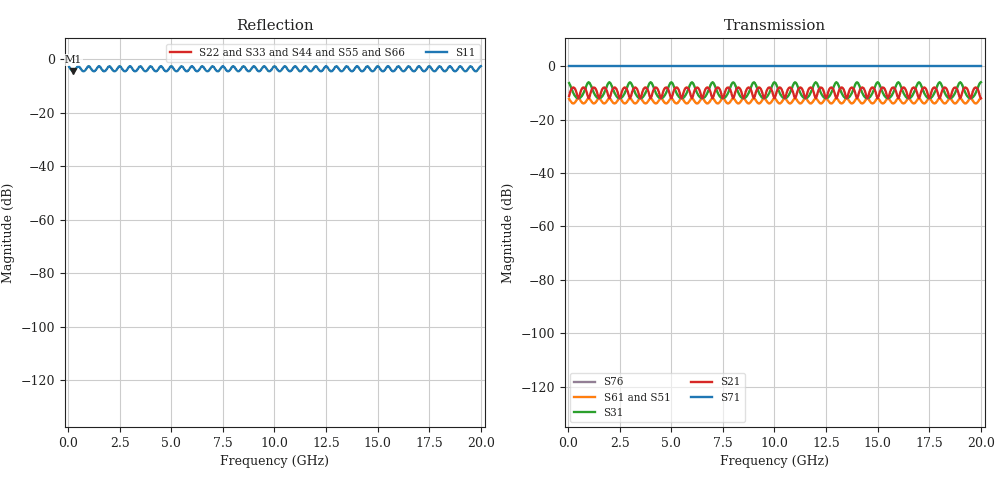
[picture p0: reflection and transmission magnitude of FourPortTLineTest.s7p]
# MHz MA S R 50.0
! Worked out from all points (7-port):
!   400 points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, 50 MHz to 20 GHz, reference 50 ohm
!   strongest paths, dB at 50 MHz, 5.05 GHz, 10.05 GHz, 15.05 GHz, 20 GHz:
!     S71: 0.0, 0.0, 0.0, 0.0, 0.0
!     S21: -11.2, -11.2, -11.2, -11.2, -12.0
!     S31: -6.3, -6.3, -6.3, -6.3, -6.0
!     S61: -12.3, -12.3, -12.3, -12.3, -12.0
!     S51: -12.3, -12.3, -12.3, -12.3, -12.0
!     S76: -, -, -, -, -
!   lowest |S11| = -4.4 dB at 250 MHz (marker M1), VSWR 4.00, Z = 200 + j0 ohm
!   |S11| at or under -10 dB: nowhere
